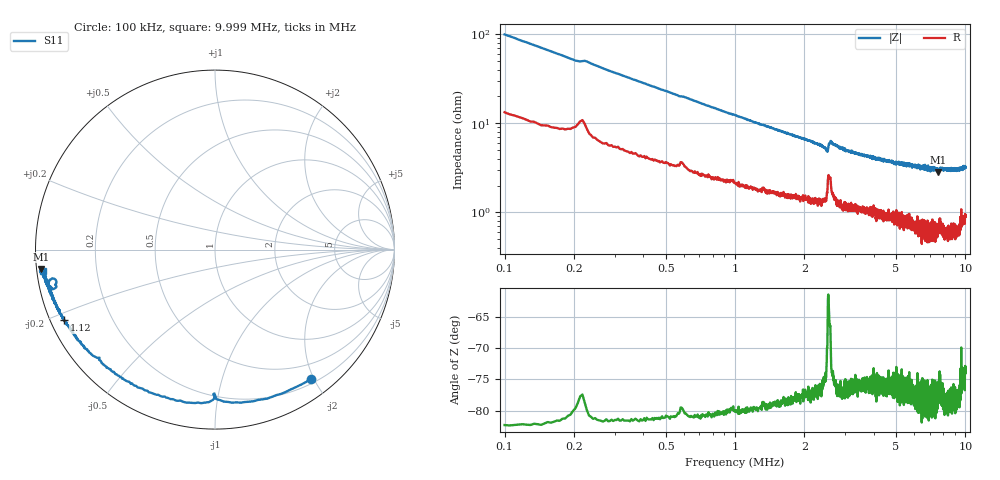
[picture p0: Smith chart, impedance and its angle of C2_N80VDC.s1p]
# HZ S RI R 50
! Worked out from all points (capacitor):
!   2020 points, 100 kHz to 9.999 MHz, reference 50 ohm
!   read as one part to ground: C = 14.8 nF near 149 kHz
!   lowest |Z| = 2.84 ohm at 7.602 MHz (marker M1)
!   S11 on the Smith chart (normalised r, x): 100 kHz: 0.27, -1.96; 1.12 MHz: 0.04, -0.22; 9.999 MHz: 0.02, -0.06
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100000  0.5364 -0.7194
124515  0.3992 -0.7906
153933  0.2395 -0.8376
168642  0.1641 -0.8494
202963  0.00772 -0.8332
237284  -0.0553 -0.8523
286314  -0.2217 -0.8392
354956  -0.3768 -0.7864
443210  -0.5172 -0.7194
531464  -0.6116 -0.6483
712875  -0.7267 -0.5422
913898  -0.803 -0.4528
1119824  -0.8425 -0.391
1340459  -0.8708 -0.3375
1791535  -0.9065 -0.2649
2330865  -0.9256 -0.214
2463246  -0.9257 -0.189
2502470  -0.9241 -0.1755
2576015  -0.888 -0.1957
2644657  -0.9131 -0.2136
2870195  -0.9269 -0.195
3816474  -0.9497 -0.1562
5052030  -0.9582 -0.1336
6287586  -0.9663 -0.1253
7528045  -0.9676 -0.1192
7601590  -0.9691 -0.1077
8763601  -0.9687 -0.1159
9999157  -0.9565 -0.1169
